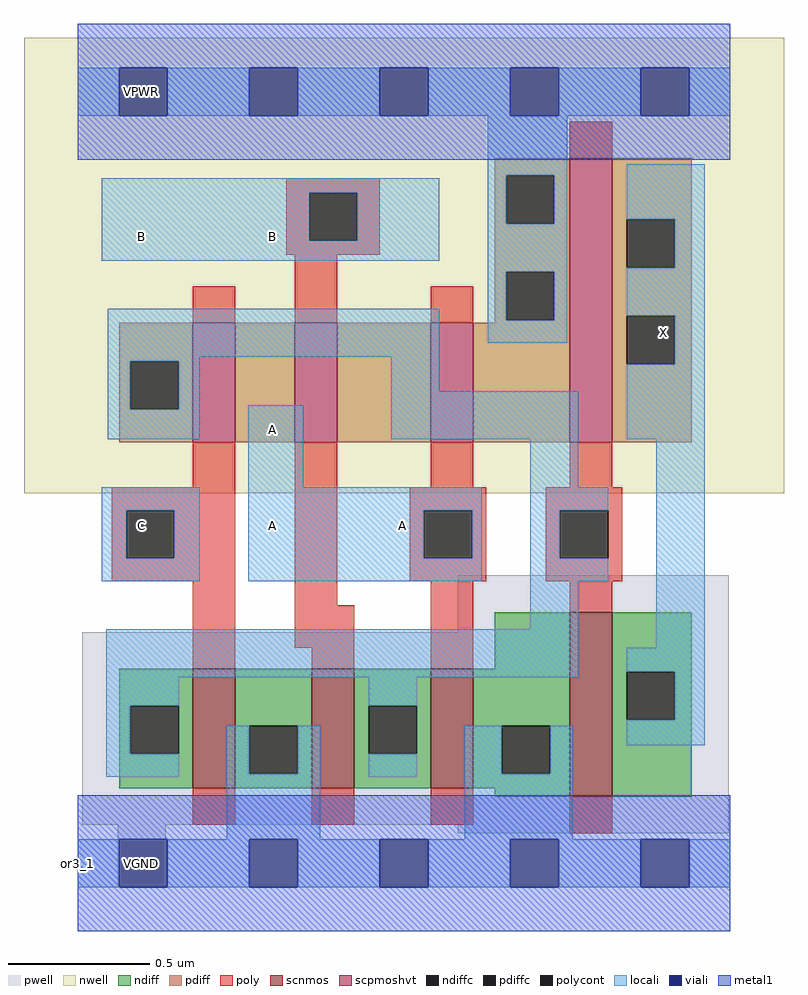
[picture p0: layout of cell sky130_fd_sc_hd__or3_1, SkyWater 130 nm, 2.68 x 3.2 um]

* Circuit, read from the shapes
.subckt sky130_fd_sc_hd__or3_1 VPWR VGND VPB VNB B C A X
XM1 VGND C n1 VNB sky130_fd_pr__nfet_01v8 w=0.42 l=0.15
XM2 n1 B VGND VNB sky130_fd_pr__nfet_01v8 w=0.42 l=0.15
XM3 VGND A n1 VNB sky130_fd_pr__nfet_01v8 w=0.42 l=0.15
XM4 X n1 VGND VNB sky130_fd_pr__nfet_01v8 w=0.65 l=0.15
XM5 n2 C n1 VPB sky130_fd_pr__pfet_01v8_hvt w=0.42 l=0.15
XM6 n3 B n2 VPB sky130_fd_pr__pfet_01v8_hvt w=0.42 l=0.15
XM7 VPWR A n3 VPB sky130_fd_pr__pfet_01v8_hvt w=0.42 l=0.15
XM8 X n1 VPWR VPB sky130_fd_pr__pfet_01v8_hvt w=1 l=0.15
.ends

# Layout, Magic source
magic
tech sky130B
magscale 1 2
<< nwell >>
rect -38 221 498 542
<< pwell >>
rect 268 123 459 163
rect 3 -13 459 123
rect 28 -57 62 -13
rect 268 -19 459 -13
<< scnmos >>
rect 81 13 111 97
rect 165 13 195 97
rect 249 13 279 97
rect 347 7 377 137
<< scpmoshvt >>
rect 81 257 111 341
rect 153 257 183 341
rect 249 257 279 341
rect 347 257 377 457
<< ndiff >>
rect 294 97 347 137
rect 29 71 81 97
rect 29 37 37 71
rect 71 37 81 71
rect 29 13 81 37
rect 111 57 165 97
rect 111 23 121 57
rect 155 23 165 57
rect 111 13 165 23
rect 195 71 249 97
rect 195 37 205 71
rect 239 37 249 71
rect 195 13 249 37
rect 279 57 347 97
rect 279 23 299 57
rect 333 23 347 57
rect 279 13 347 23
rect 294 7 347 13
rect 377 95 433 137
rect 377 61 387 95
rect 421 61 433 95
rect 377 7 433 61
<< pdiff >>
rect 294 445 347 457
rect 294 411 302 445
rect 336 411 347 445
rect 294 377 347 411
rect 294 343 302 377
rect 336 343 347 377
rect 294 341 347 343
rect 29 314 81 341
rect 29 280 37 314
rect 71 280 81 314
rect 29 257 81 280
rect 111 257 153 341
rect 183 257 249 341
rect 279 257 347 341
rect 377 414 433 457
rect 377 380 387 414
rect 421 380 433 414
rect 377 346 433 380
rect 377 312 387 346
rect 421 312 433 346
rect 377 257 433 312
<< ndiffc >>
rect 37 37 71 71
rect 121 23 155 57
rect 205 37 239 71
rect 299 23 333 57
rect 387 61 421 95
<< pdiffc >>
rect 302 411 336 445
rect 302 343 336 377
rect 37 280 71 314
rect 387 380 421 414
rect 387 312 421 346
<< poly >>
rect 347 457 377 483
rect 147 433 213 443
rect 147 399 163 433
rect 197 399 213 433
rect 147 389 213 399
rect 81 341 111 367
rect 153 341 183 389
rect 249 341 279 367
rect 81 225 111 257
rect 24 209 111 225
rect 24 175 34 209
rect 68 175 111 209
rect 24 159 111 175
rect 81 97 111 159
rect 153 142 183 257
rect 249 225 279 257
rect 347 225 377 257
rect 234 209 288 225
rect 234 175 244 209
rect 278 175 288 209
rect 234 159 288 175
rect 330 209 384 225
rect 330 175 340 209
rect 374 175 384 209
rect 330 159 384 175
rect 153 112 195 142
rect 165 97 195 112
rect 249 97 279 159
rect 347 137 377 159
rect 81 -13 111 13
rect 165 -13 195 13
rect 249 -13 279 13
rect 347 -19 377 7
<< polycont >>
rect 163 399 197 433
rect 34 175 68 209
rect 244 175 278 209
rect 340 175 374 209
<< locali >>
rect 0 487 29 521
rect 63 487 121 521
rect 155 487 213 521
rect 247 487 305 521
rect 339 487 397 521
rect 431 487 460 521
rect 289 445 345 487
rect 17 433 255 443
rect 17 399 163 433
rect 197 399 255 433
rect 17 385 255 399
rect 289 411 302 445
rect 336 411 345 445
rect 289 377 345 411
rect 21 317 255 351
rect 289 343 302 377
rect 336 343 345 377
rect 289 327 345 343
rect 387 414 442 453
rect 421 380 442 414
rect 387 346 442 380
rect 21 314 86 317
rect 21 280 37 314
rect 71 280 86 314
rect 221 293 255 317
rect 421 312 442 346
rect 21 259 86 280
rect 120 225 159 283
rect 221 259 353 293
rect 387 259 442 312
rect 319 225 353 259
rect 17 209 86 225
rect 17 175 34 209
rect 68 175 86 209
rect 17 159 86 175
rect 120 209 285 225
rect 120 175 244 209
rect 278 175 285 209
rect 120 159 285 175
rect 319 209 374 225
rect 319 175 340 209
rect 319 159 374 175
rect 319 125 353 159
rect 20 91 353 125
rect 408 112 442 259
rect 387 95 442 112
rect 20 71 71 91
rect 20 37 37 71
rect 205 71 239 91
rect 20 21 71 37
rect 105 23 121 57
rect 155 23 171 57
rect 105 -23 171 23
rect 421 61 442 95
rect 205 21 239 37
rect 273 23 299 57
rect 333 23 349 57
rect 387 43 442 61
rect 273 -23 349 23
rect 0 -57 29 -23
rect 63 -57 121 -23
rect 155 -57 213 -23
rect 247 -57 305 -23
rect 339 -57 397 -23
rect 431 -57 460 -23
<< viali >>
rect 29 487 63 521
rect 121 487 155 521
rect 213 487 247 521
rect 305 487 339 521
rect 397 487 431 521
rect 29 -57 63 -23
rect 121 -57 155 -23
rect 213 -57 247 -23
rect 305 -57 339 -23
rect 397 -57 431 -23
<< metal1 >>
rect 0 521 460 552
rect 0 487 29 521
rect 63 487 121 521
rect 155 487 213 521
rect 247 487 305 521
rect 339 487 397 521
rect 431 487 460 521
rect 0 456 460 487
rect 0 -23 460 8
rect 0 -57 29 -23
rect 63 -57 121 -23
rect 155 -57 213 -23
rect 247 -57 305 -23
rect 339 -57 397 -23
rect 431 -57 460 -23
rect 0 -88 460 -57
<< labels >>
rlabel comment s 0 -40 0 -40 4 or3_1
flabel metal1 s 28 487 62 521 0 FreeSans 200 0 0 0 VPWR
port 2 nsew
flabel metal1 s 28 -57 62 -23 0 FreeSans 200 0 0 0 VGND
port 3 nsew
flabel nwell s 28 487 62 521 0 FreeSans 200 0 0 0 VPB
port 5 nsew
flabel pwell s 28 -57 62 -23 0 FreeSans 200 0 0 0 VNB
port 6 nsew
flabel locali s 212 181 246 215 0 FreeSans 400 0 0 0 A
port 9 nsew
flabel locali s 120 181 154 215 0 FreeSans 400 0 0 0 A
port 9 nsew
flabel locali s 396 317 430 351 0 FreeSans 200 0 0 0 X
port 10 nsew
flabel locali s 120 249 154 283 0 FreeSans 400 0 0 0 A
port 9 nsew
flabel locali s 28 385 62 419 0 FreeSans 400 0 0 0 B
port 7 nsew
flabel locali s 120 385 154 419 0 FreeSans 400 0 0 0 B
port 7 nsew
flabel locali s 28 181 62 215 0 FreeSans 400 0 0 0 C
port 8 nsew
<< properties >>
string FIXED_BBOX 0 -40 460 504
string path 0.000 -1.000 11.500 -1.000 
<< end >>
